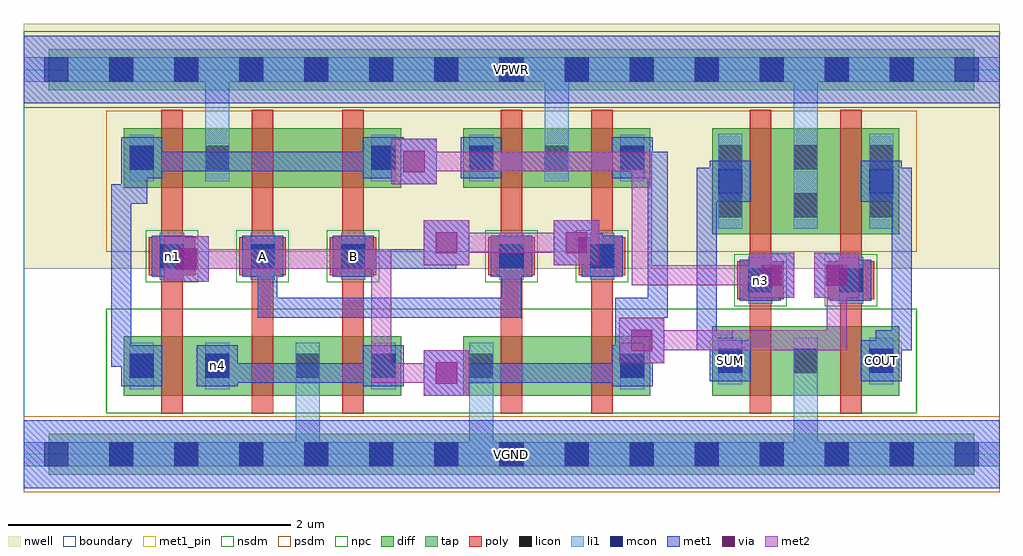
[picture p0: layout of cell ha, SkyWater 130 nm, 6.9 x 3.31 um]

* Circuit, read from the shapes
.subckt ha A B COUT SUM VGND VPWR n1 n3 n4
XM1 n4 n1 n3 VGND sky130_fd_pr__nfet_01v8 w=0.42 l=0.15
XM2 VGND A n4 VGND sky130_fd_pr__nfet_01v8 w=0.42 l=0.15
XM3 n4 B VGND VGND sky130_fd_pr__nfet_01v8 w=0.42 l=0.15
XM4 n2 A VGND VGND sky130_fd_pr__nfet_01v8 w=0.42 l=0.15
XM5 n1 B n2 VGND sky130_fd_pr__nfet_01v8 w=0.42 l=0.15
XM6 VGND n3 SUM VGND sky130_fd_pr__nfet_01v8 w=0.49 l=0.15
XM7 COUT n1 VGND VGND sky130_fd_pr__nfet_01v8 w=0.49 l=0.15
XM8 VPWR n1 n3 VPWR sky130_fd_pr__pfet_01v8 w=0.42 l=0.15
XM9 n5 A VPWR VPWR sky130_fd_pr__pfet_01v8 w=0.42 l=0.15
XM10 n3 B n5 VPWR sky130_fd_pr__pfet_01v8 w=0.42 l=0.15
XM11 VPWR A n1 VPWR sky130_fd_pr__pfet_01v8 w=0.42 l=0.15
XM12 n1 B VPWR VPWR sky130_fd_pr__pfet_01v8 w=0.42 l=0.15
XM13 VPWR n3 SUM VPWR sky130_fd_pr__pfet_01v8 w=0.75 l=0.15
XM14 COUT n1 VPWR VPWR sky130_fd_pr__pfet_01v8 w=0.75 l=0.15
.ends

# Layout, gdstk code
import gdstk
lib = gdstk.Library(unit=1e-6, precision=1e-09)
def R(c, l, rs):  # rectangles x0, y0, x1, y1
    for r in rs: c.add(gdstk.rectangle(r[:2], r[2:], *l))
def A(c, l, x, y, w, h, nx, ny, dx, dy):  # array of equal rectangles
    R(c, l, [(x+i*dx, y+j*dy, x+i*dx+w, y+j*dy+h) for i in range(nx) for j in range(ny)])
nwell = (64, 20)
diff = (65, 20)
tap = (65, 44)
poly = (66, 20)
licon = (66, 44)
li1 = (67, 20)
mcon = (67, 44)
met1_pin = (68, 16)
met1 = (68, 20)
via = (68, 44)
met2 = (69, 20)
nsdm = (93, 44)
psdm = (94, 20)
npc = (95, 20)
boundary = (235, 4)

c_ha = lib.new_cell('ha')
R(c_ha, nwell, [(0,1.31,6.9,3.045)])
R(c_ha, diff, [(0.71,0.415,2.67,0.835), (3.11,0.415,4.43,0.835), (4.87,0.415,6.19,0.905), (4.87,1.555,6.19,2.305), (0.71,1.885,2.67,2.305), (3.11,1.885,4.43,2.305)])
R(c_ha, tap, [(0.18,-0.145,6.72,0.145), (0.18,2.575,6.72,2.865)])
A(c_ha, poly, 0.975, 0.285, 0.15, 2.15, 3, 1, 0.64, 0)
A(c_ha, poly, 0.885, 1.265, 0.33, 0.27, 3, 1, 0.64, 0)
R(c_ha, poly, [(3.375,0.285,3.525,2.435), (4.015,0.285,4.165,2.435), (5.135,0.285,5.285,2.435), (5.775,0.285,5.925,2.435), (5.045,1.095,5.375,1.365), (5.685,1.095,6.015,1.365), (3.285,1.265,3.615,1.535), (3.925,1.265,4.255,1.535)])
A(c_ha, licon, 0.605, -0.085, 0.17, 0.17, 13, 2, 0.46, 2.72)
A(c_ha, licon, 4.91, 0.575, 0.17, 0.17, 3, 2, 0.535, 1.1)
A(c_ha, licon, 0.965, 1.315, 0.17, 0.17, 3, 1, 0.64, 0)
A(c_ha, licon, 3.15, 2.01, 0.17, 0.17, 3, 1, 0.535, 0)
A(c_ha, licon, 4.91, 2.015, 0.17, 0.17, 3, 1, 0.535, 0)
R(c_ha, licon, [(0.75,0.54,0.92,0.71), (1.285,0.54,1.455,0.71), (1.925,0.54,2.095,0.71), (2.46,0.54,2.63,0.71), (3.15,0.54,3.32,0.71), (4.22,0.54,4.39,0.71), (5.125,1.145,5.295,1.315), (5.765,1.145,5.935,1.315), (3.365,1.315,3.535,1.485), (4.005,1.315,4.175,1.485), (0.75,2.01,0.92,2.18), (1.285,2.01,1.455,2.18), (2.46,2.01,2.63,2.18)])
A(c_ha, li1, 4.91, 0.495, 0.17, 0.33, 3, 1, 0.535, 0)
A(c_ha, li1, 0.965, 1.235, 0.17, 0.33, 3, 1, 0.64, 0)
A(c_ha, li1, 4.91, 1.595, 0.17, 0.67, 3, 1, 0.535, 0)
A(c_ha, li1, 3.15, 1.93, 0.17, 0.33, 3, 1, 0.535, 0)
R(c_ha, li1, [(0,-0.085,6.9,0.085), (1.925,-0.085,2.095,0.79), (3.15,-0.085,3.32,0.79), (5.445,-0.085,5.615,0.825), (0.75,0.46,0.92,0.79), (1.285,0.46,1.455,0.79), (1.925,0.46,2.095,0.79), (2.46,0.46,2.63,0.79), (3.15,0.46,3.32,0.79), (4.22,0.46,4.39,0.79), (5.125,1.065,5.295,1.395), (5.765,1.065,5.935,1.395), (3.365,1.235,3.535,1.565), (4.005,1.235,4.175,1.565), (5.445,1.595,5.615,2.805), (0.75,1.93,0.92,2.26), (1.285,1.93,1.455,2.26), (1.285,1.93,1.455,2.805), (2.46,1.93,2.63,2.26), (3.685,1.93,3.855,2.805), (0,2.635,6.9,2.805)])
A(c_ha, mcon, 0.145, -0.085, 0.17, 0.17, 15, 2, 0.46, 2.72)
A(c_ha, mcon, 0.965, 1.315, 0.17, 0.17, 3, 1, 0.64, 0)
R(c_ha, mcon, [(0.75,0.54,0.92,0.71), (1.285,0.54,1.455,0.71), (2.46,0.54,2.63,0.71), (4.22,0.54,4.39,0.71), (4.91,0.575,5.08,0.745), (5.98,0.575,6.15,0.745), (5.125,1.145,5.295,1.315), (5.765,1.145,5.935,1.315), (3.365,1.315,3.535,1.485), (4.005,1.315,4.175,1.485), (4.91,1.845,5.08,2.015), (5.98,1.845,6.15,2.015), (0.75,2.01,0.92,2.18), (2.46,2.01,2.63,2.18), (3.15,2.01,3.32,2.18), (4.22,2.01,4.39,2.18)])
R(c_ha, met1_pin, [(0,-0.24,6.9,0.24), (4.85,0.515,5.14,0.805), (5.92,0.515,6.21,0.805), (1.545,1.255,1.835,1.545), (2.185,1.255,2.475,1.545), (0,2.48,6.9,2.96)])
A(c_ha, met1, 0.905, 1.255, 0.29, 0.29, 3, 1, 0.64, 0)
R(c_ha, met1, [(0,-0.24,6.9,0.24), (2.83,0.415,3.15,0.735), (0.69,0.48,0.98,0.77), (1.225,0.48,1.515,0.77), (2.4,0.48,2.69,0.77), (4.16,0.48,4.45,0.77), (1.31,0.505,1.45,0.645), (1.31,0.505,2.6,0.645), (2.46,0.505,2.6,0.645), (2.92,0.505,4.325,0.645), (4.185,0.505,4.325,0.645), (4.185,0.505,4.325,1.105), (4.85,0.515,5.14,0.805), (5.92,0.515,6.21,0.805), (0.62,0.62,0.875,0.76), (0.62,0.62,0.76,1.91), (0.735,0.62,0.875,0.76), (4.875,0.62,5.015,0.76), (4.875,0.62,5.015,0.875), (6.025,0.62,6.165,0.76), (6.025,0.62,6.165,0.875), (4.21,0.645,4.53,0.965), (4.185,0.735,4.44,0.875), (4.76,0.735,5.015,0.875), (4.76,0.735,4.9,2.025), (6.025,0.735,6.28,0.875), (6.14,0.735,6.28,2.025), (4.185,0.875,4.44,0.965), (1.655,0.965,1.795,1.45), (1.655,0.965,3.52,1.105), (3.38,0.965,3.52,1.45), (4.185,0.965,4.555,1.105), (4.415,0.965,4.555,2.14), (5.065,1.085,5.355,1.375), (5.705,1.085,5.995,1.375), (5.13,1.105,5.45,1.425), (5.59,1.105,5.91,1.425), (5.105,1.195,5.245,1.335), (5.105,1.195,5.36,1.335), (5.68,1.195,5.935,1.335), (5.795,1.195,5.935,1.335), (0.99,1.22,1.31,1.54), (3.305,1.255,3.595,1.545), (3.945,1.255,4.235,1.545), (0.965,1.31,1.105,1.45), (0.965,1.31,1.22,1.45), (1.655,1.31,1.795,1.45), (2.23,1.31,2.37,1.45), (2.23,1.31,3.06,1.45), (2.92,1.31,3.06,1.565), (3.38,1.31,3.52,1.45), (3.955,1.31,4.095,1.45), (3.955,1.31,4.095,1.565), (2.83,1.335,3.15,1.655), (3.75,1.335,4.07,1.655), (3.84,1.425,4.095,1.565), (0.62,1.77,0.875,1.91), (0.735,1.77,0.875,2.14), (4.85,1.785,5.14,2.075), (5.92,1.785,6.21,2.075), (4.76,1.885,5.015,2.025), (4.875,1.885,5.015,2.025), (6.025,1.885,6.165,2.025), (6.025,1.885,6.28,2.025), (0.69,1.91,0.875,1.95), (0.69,1.91,0.76,1.95), (2.6,1.91,2.92,2.23), (0.69,1.95,0.98,2.24), (2.4,1.95,2.69,2.24), (3.09,1.95,3.38,2.24), (4.16,1.95,4.45,2.24), (0.735,2,0.875,2.14), (0.735,2,2.6,2.14), (2.46,2,2.6,2.14), (2.46,2,2.83,2.14), (3.15,2,3.29,2.14), (3.15,2,4.44,2.14), (4.3,2,4.44,2.14), (4.3,2,4.555,2.14), (0,2.48,6.9,2.96)])
R(c_ha, via, [(2.915,0.5,3.065,0.65), (4.295,0.73,4.445,0.88), (5.215,1.19,5.365,1.34), (5.675,1.19,5.825,1.34), (1.075,1.305,1.225,1.455), (2.915,1.42,3.065,1.57), (3.835,1.42,3.985,1.57), (2.685,1.995,2.835,2.145)])
R(c_ha, met2, [(2.83,0.415,3.15,0.735), (2.46,0.505,2.6,1.45), (2.46,0.505,3.06,0.645), (4.21,0.645,4.53,0.965), (4.3,0.735,5.82,0.875), (5.68,0.735,5.82,1.335), (5.13,1.105,5.45,1.425), (5.59,1.105,5.91,1.425), (4.3,1.195,5.36,1.335), (4.3,1.195,4.44,2.14), (0.99,1.22,1.31,1.54), (1.08,1.31,2.6,1.45), (2.83,1.335,3.15,1.655), (3.75,1.335,4.07,1.655), (2.92,1.425,3.98,1.565), (2.6,1.91,2.92,2.23), (2.69,2,4.44,2.14)])
R(c_ha, nsdm, [(0.585,0.29,6.315,1.03), (0,2.45,6.9,2.99)])
R(c_ha, psdm, [(0,-0.27,6.9,0.27), (0.585,1.43,6.315,2.43)])
A(c_ha, npc, 0.865, 1.215, 0.37, 0.37, 3, 1, 0.64, 0)
R(c_ha, npc, [(5.025,1.045,5.395,1.415), (5.665,1.045,6.035,1.415), (3.265,1.215,3.635,1.585), (3.905,1.215,4.275,1.585)])
R(c_ha, boundary, [(0,0,6.9,2.72)])
c_ha.add(gdstk.Label('n1', (1.05,1.4), layer=67, texttype=5))
c_ha.add(gdstk.Label('n3', (5.21,1.23), layer=67, texttype=5))
c_ha.add(gdstk.Label('n4', (1.37,0.625), layer=67, texttype=5))
c_ha.add(gdstk.Label('A', (1.69,1.4), layer=68, texttype=5))
c_ha.add(gdstk.Label('B', (2.33,1.4), layer=68, texttype=5))
c_ha.add(gdstk.Label('SUM', (4.995,0.66), layer=68, texttype=5))
c_ha.add(gdstk.Label('COUT', (6.065,0.66), layer=68, texttype=5))
c_ha.add(gdstk.Label('VPWR', (3.45,2.72), layer=68, texttype=5))
c_ha.add(gdstk.Label('VGND', (3.45,0), layer=68, texttype=5))
c_ha.add(gdstk.Label('A', (1.69,1.4), layer=68, texttype=16))
c_ha.add(gdstk.Label('B', (2.33,1.4), layer=68, texttype=16))
c_ha.add(gdstk.Label('SUM', (4.995,0.66), layer=68, texttype=16))
c_ha.add(gdstk.Label('COUT', (6.065,0.66), layer=68, texttype=16))
c_ha.add(gdstk.Label('VPWR', (3.45,2.72), layer=68, texttype=16))
c_ha.add(gdstk.Label('VGND', (3.45,0), layer=68, texttype=16))

lib.write_gds('ha.gds')
